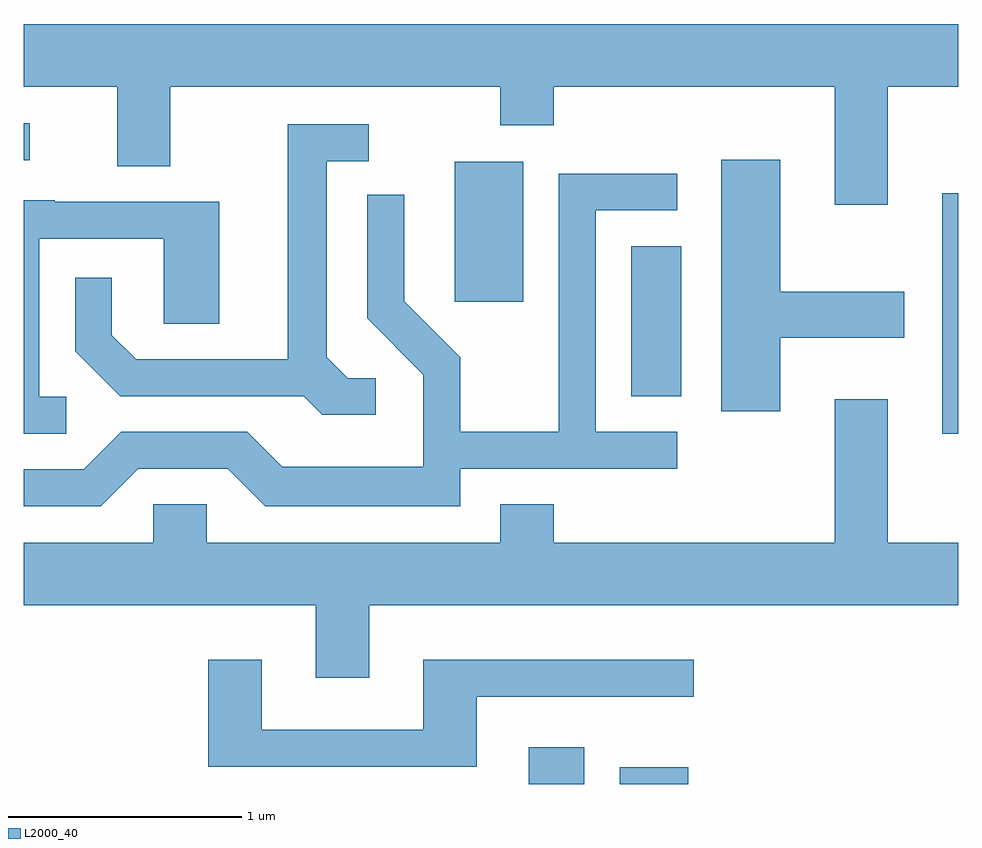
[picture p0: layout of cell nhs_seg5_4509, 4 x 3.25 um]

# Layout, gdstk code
import gdstk
lib = gdstk.Library(unit=1e-6, precision=1e-09)
def R(c, l, rs):  # rectangles x0, y0, x1, y1
    for r in rs: c.add(gdstk.rectangle(r[:2], r[2:], *l))
def P(c, l, *ps):  # polygons
    for p in ps: c.add(gdstk.Polygon(p, *l))
L2000_40 = (2000, 40)

nhs_seg5_4509 = lib.new_cell('nhs_seg5_4509')
R(nhs_seg5_4509, L2000_40, [(321.773,1416.072,322.009,1416.229), (322.161,1416.072,322.454,1416.144), (323.541,1417.571,323.611,1418.599), (322.211,1417.731,322.424,1418.374), (321.456,1418.136,321.749,1418.734), (319.611,1418.741,319.638,1418.899)])
P(nhs_seg5_4509, L2000_40, [(319.611,1419.056),(320.011,1419.056),(320.011,1418.716),(320.239,1418.716),(320.239,1419.056),(321.651,1419.056),(321.651,1418.891),(321.879,1418.891),(321.879,1419.056),(323.081,1419.056),(323.081,1418.551),(323.309,1418.551),(323.309,1419.056),(323.611,1419.056),(323.611,1419.324),(319.611,1419.324)],
  [(321.118,1417.809),(320.997,1417.809),(320.909,1417.897),(320.909,1418.736),(321.088,1418.736),(321.088,1418.894),(320.741,1418.894),(320.741,1417.889),(320.092,1417.889),(319.989,1417.992),(319.989,1418.238),(319.831,1418.238),(319.831,1417.924),(320.024,1417.731),(320.809,1417.731),(320.889,1417.651),(321.118,1417.651)],
  [(322.849,1417.981),(323.379,1417.981),(323.379,1418.179),(322.849,1418.179),(322.849,1418.744),(322.596,1418.744),(322.596,1417.666),(322.849,1417.666)],
  [(320.102,1417.421),(320.484,1417.421),(320.644,1417.261),(321.479,1417.261),(321.479,1417.421),(322.408,1417.421),(322.408,1417.579),(322.059,1417.579),(322.059,1418.526),(322.408,1418.526),(322.408,1418.684),(321.901,1418.684),(321.901,1417.579),(321.479,1417.579),(321.479,1417.897),(321.239,1418.137),(321.239,1418.593),(321.081,1418.593),(321.081,1418.064),(321.321,1417.824),(321.321,1417.429),(320.717,1417.429),(320.567,1417.579),(320.029,1417.579),(319.869,1417.419),(319.611,1417.419),(319.611,1417.261),(319.942,1417.261)],
  [(319.793,1417.729),(319.679,1417.729),(319.679,1418.406),(320.211,1418.406),(320.211,1418.041),(320.449,1418.041),(320.449,1418.564),(319.745,1418.564),(319.745,1418.569),(319.611,1418.569),(319.611,1417.571),(319.793,1417.571)],
  [(323.611,1417.104),(323.309,1417.104),(323.309,1417.719),(323.081,1417.719),(323.081,1417.104),(321.879,1417.104),(321.879,1417.269),(321.651,1417.269),(321.651,1417.104),(320.394,1417.104),(320.394,1417.269),(320.166,1417.269),(320.166,1417.104),(319.611,1417.104),(319.611,1416.836),(320.861,1416.836),(320.861,1416.526),(321.089,1416.526),(321.089,1416.836),(323.611,1416.836)],
  [(321.549,1416.446),(322.478,1416.446),(322.478,1416.604),(321.321,1416.604),(321.321,1416.304),(320.629,1416.304),(320.629,1416.604),(320.401,1416.604),(320.401,1416.146),(321.549,1416.146)])

lib.write_gds('nhs_seg5_4509.gds')
